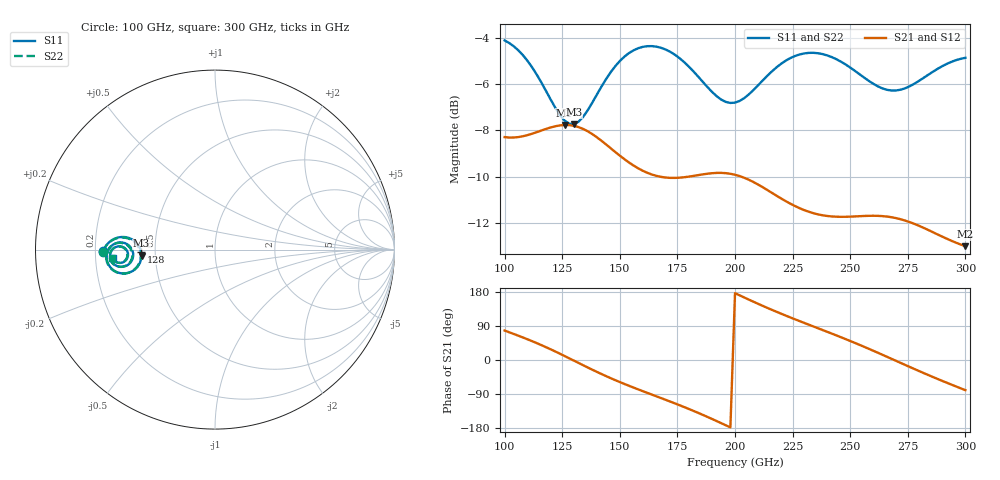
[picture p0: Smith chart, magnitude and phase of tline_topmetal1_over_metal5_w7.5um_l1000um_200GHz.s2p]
#  GHZ S DB R 50
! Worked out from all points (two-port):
!   101 points, 100 GHz to 300 GHz, reference 50 ohm
!   highest |S21| = -7.77 dB at 126 GHz (marker M1); lowest = -13.0 dB at 300 GHz (marker M2)
!   |S21| within 3 dB of the highest: start of sweep to 217.2 GHz
!   lowest |S11| = -7.7 dB at 130 GHz (marker M3), VSWR 2.39, Z = 20.9 - j1.68 ohm
!   |S11| at or under -10 dB: nowhere
!   |S22| runs from -7.6 to -4.1 dB; largest |S21 - S12| = 3.7e-14
!   S11 on the Smith chart (normalised r, x): 100 GHz: 0.23, -0.01; 128 GHz: 0.42, -0.01; 300 GHz: 0.27, -0.04
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100  -4.11 -179.2  -8.29 77.7  -8.29 77.7  -4.09 -178.9
114  -5.60 172.3  -8.07 44.4  -8.07 44.4  -5.55 172.6
126  -7.57 178.8  -7.77 10.7  -7.77 10.7  -7.49 179.0
128  -7.71 -178.4  -7.77 4.7  -7.77 4.7  -7.63 -178.2
130  -7.73 -175.3  -7.80 -1.4  -7.80 -1.4  -7.65 -175.2
134  -7.42 -169.8  -7.93 -13.5  -7.93 -13.5  -7.35 -169.8
142  -6.11 -165.0  -8.44 -36.9  -8.44 -36.9  -6.06 -165.0
148  -5.23 -166.2  -8.93 -53.1  -8.93 -53.1  -5.19 -166.2
158  -4.45 -172.0  -9.64 -77.6  -9.64 -77.6  -4.42 -171.9
168  -4.43 -178.5  -10.01 -100.7  -10.01 -100.7  -4.40 -178.4
184  -5.67 175.6  -9.93 -139.5  -9.93 -139.5  -5.62 175.9
192  -6.52 178.2  -9.83 -161.0  -9.83 -161.0  -6.44 178.4
200  -6.80 -175.5  -9.91 176.4  -9.91 176.4  -6.71 -175.5
208  -6.25 -170.4  -10.23 153.8  -10.23 153.8  -6.18 -170.5
216  -5.45 -169.6  -10.69 132.4  -10.69 132.4  -5.39 -169.7
224  -4.88 -172.0  -11.16 112.4  -11.16 112.4  -4.83 -172.0
234  -4.65 -176.5  -11.57 88.6  -11.57 88.6  -4.61 -176.5
250  -5.28 178.2  -11.72 50.2  -11.72 50.2  -5.24 178.3
260  -5.98 179.1  -11.69 24.5  -11.69 24.5  -5.93 179.2
268  -6.28 -177.3  -11.75 2.9  -11.75 2.9  -6.22 -177.3
284  -5.59 -172.0  -12.30 -39.9  -12.30 -39.9  -5.54 -172.1
300  -4.86 -175.1  -13.00 -79.6  -13.00 -79.6  -4.83 -175.1
